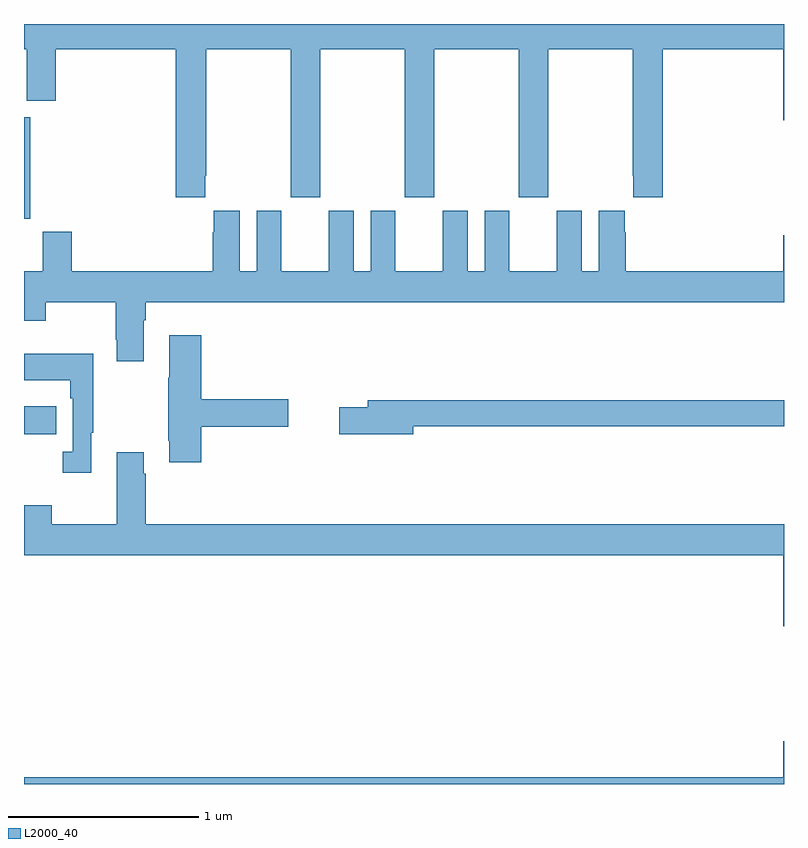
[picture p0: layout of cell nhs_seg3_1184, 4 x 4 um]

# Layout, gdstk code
import gdstk
lib = gdstk.Library(unit=1e-6, precision=1e-09)
def R(c, l, rs):  # rectangles x0, y0, x1, y1
    for r in rs: c.add(gdstk.rectangle(r[:2], r[2:], *l))
def P(c, l, *ps):  # polygons
    for p in ps: c.add(gdstk.Polygon(p, *l))
L2000_40 = (2000, 40)

nhs_seg3_1184 = lib.new_cell('nhs_seg3_1184')
R(nhs_seg3_1184, L2000_40, [(173,680.242,173.171,680.389), (173,681.374,173.032,681.91)])
P(nhs_seg3_1184, L2000_40, [(173.953,681.601),(173.958,681.601),(173.958,682.268),(174.403,682.268),(174.403,681.489),(174.558,681.489),(174.558,682.268),(175.003,682.268),(175.003,681.489),(175.158,681.489),(175.158,682.268),(175.603,682.268),(175.603,681.489),(175.758,681.489),(175.758,682.268),(176.203,682.268),(176.203,681.601),(176.207,681.601),(176.207,681.489),(176.363,681.489),(176.363,682.268),(176.996,682.268),(176.996,681.894),(177,681.894),(177,682.4),(173,682.4),(173,682.268),(173.015,682.268),(173.015,681.995),(173.168,681.995),(173.168,682.268),(173.798,682.268),(173.798,681.489),(173.953,681.489)],
  [(173.629,680.84),(173.642,680.84),(173.642,680.936),(177,680.936),(177,681.289),(176.996,681.289),(176.996,681.1),(176.168,681.1),(176.168,681.305),(176.161,681.305),(176.161,681.418),(176.024,681.418),(176.024,681.1),(175.936,681.1),(175.936,681.418),(175.805,681.418),(175.805,681.1),(175.555,681.1),(175.555,681.418),(175.424,681.418),(175.424,681.1),(175.336,681.1),(175.336,681.418),(175.205,681.418),(175.205,681.1),(174.955,681.1),(174.955,681.418),(174.824,681.418),(174.824,681.1),(174.736,681.1),(174.736,681.418),(174.605,681.418),(174.605,681.1),(174.355,681.1),(174.355,681.418),(174.224,681.418),(174.224,681.1),(174.136,681.1),(174.136,681.418),(173.999,681.418),(173.999,681.305),(173.993,681.305),(173.993,681.1),(173.252,681.1),(173.252,681.307),(173.099,681.307),(173.099,681.1),(173,681.1),(173,680.837),(173.115,680.837),(173.115,680.936),(173.482,680.936),(173.482,680.737),(173.489,680.737),(173.489,680.625),(173.629,680.625)],
  [(173.933,680.279),(174.391,680.279),(174.391,680.426),(173.933,680.426),(173.933,680.761),(173.765,680.761),(173.765,680.537),(173.758,680.537),(173.758,680.206),(173.765,680.206),(173.765,680.094),(173.933,680.094)],
  [(173.353,680.249),(173.365,680.249),(173.365,680.665),(173,680.665),(173,680.525),(173.244,680.525),(173.244,680.429),(173.256,680.429),(173.256,680.15),(173.205,680.15),(173.205,680.037),(173.353,680.037)],
  [(175.048,680.284),(177,680.284),(177,680.42),(174.809,680.42),(174.809,680.384),(174.66,680.384),(174.66,680.242),(175.048,680.242)],
  [(177,679.768),(173.642,679.768),(173.642,680.033),(173.629,680.033),(173.629,680.146),(173.489,680.146),(173.489,679.768),(173.145,679.768),(173.145,679.867),(173,679.867),(173,679.604),(176.996,679.604),(176.996,679.23),(177,679.23)],
  [(177,678.625),(176.996,678.625),(176.996,678.436),(173,678.436),(173,678.4),(177,678.4)])

lib.write_gds('nhs_seg3_1184.gds')
